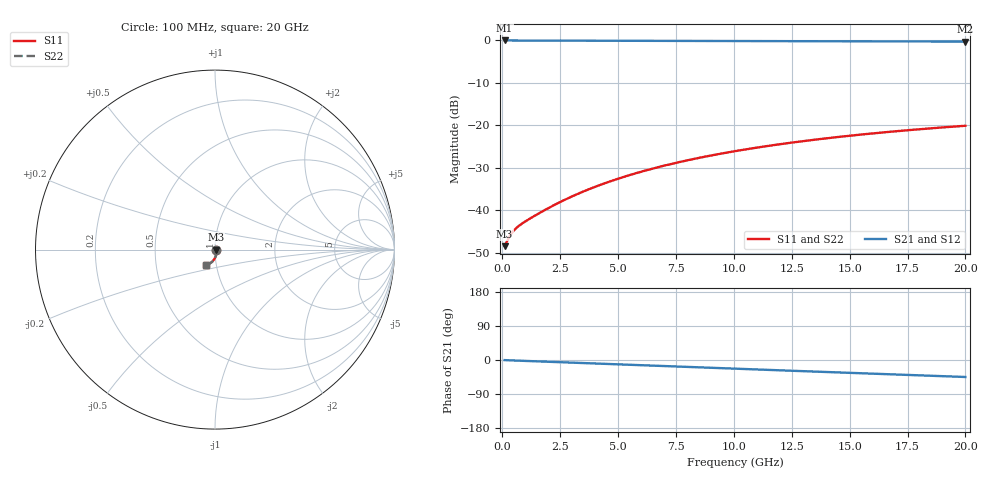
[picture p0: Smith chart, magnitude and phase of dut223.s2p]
! Touchstone file exported from HFSS 2026.1.0
!  File:  C:/ffzhzh/LocalFiles/Ansys_Project_Files/temp_train_TMRDL_223_1782984357_41620.aedt
!  Generated:  05:27:09 PM Jul  2, 2026
!  Design:  TMRDL
!  Project:  temp_train_TMRDL_223_1782984357_41620
! Variables:
!  h_bsmrdl = 2um
!  h_ox = 20um
!  h_rdl = 5um
!  h_sub = 80um
!  h_tmrdl = 3.54um
!  h_tsv = 80um
!  h_via = 3um
!  l_bsmrdl = 300um
!  l_sub = 1195.34um
!  l_tmrdl = 795.34um
!  m_sub = 200um
!  pitch = 26.18um
!  r_tsv = 6um
!  s_tmrdl = 10um
!  w_bsmrdl = 18um
!  w_sub = 500um
!  w_tmrdl = 23.29um
!  x_tsv_center1 = 806.985um
!  x_tsv_center2 = 1124.985um
!  x_tsv_center3 = 1943.615um
!  x_tsv_center4 = 2261.615um
!  x_tsv_center5 = 3080.245um
!  x_tsv_center6 = 3398.245um
# GHz S MA R 50.000000
! Terminal data exported
! Port[1] = TM_RDL1_1_T1
! Port[2] = TM_RDL1_1_T2
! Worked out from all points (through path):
!   200 points, 100 MHz to 20 GHz, reference 50 ohm
!   highest |S21| = -0.03 dB at 100 MHz (marker M1); lowest = -0.3 dB at 20 GHz (marker M2)
!   group delay of S21, straight-line fit = 6.2 ps
!   lowest |S11| = -48.5 dB at 100 MHz (marker M3), VSWR 1.01, Z = 50.4 + j0.0448 ohm
!   |S11| at or under -10 dB: start of sweep to end of sweep
!   |S22| runs from -48.5 to -20.1 dB; largest |S21 - S12| = 4.1e-15
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0.1  0.003775 6.8  0.9963 -0.3  0.9963 -0.3  0.003775 6.8
! Gamma 0 0 0 0
! Port Impedance 50 0 50 0
0.3  0.004858 7.0  0.9952 -0.8  0.9952 -0.8  0.004858 7.0
0.4  0.005365 3.2  0.9946 -1.0  0.9946 -1.0  0.005365 3.2
0.5  0.005796 -1.2  0.9942 -1.3  0.9942 -1.3  0.005797 -1.2
0.6  0.006168 -5.8  0.9938 -1.5  0.9938 -1.5  0.006169 -5.7
0.8  0.00681 -14.2  0.9933 -2.0  0.9933 -2.0  0.006812 -14.2
1.3  0.008298 -30.7  0.9926 -3.1  0.9926 -3.1  0.008302 -30.6
2.1  0.01099 -47.4  0.9918 -4.9  0.9918 -4.9  0.01099 -47.3
2.8  0.01368 -56.5  0.9911 -6.6  0.9911 -6.6  0.01369 -56.5
3.5  0.01661 -63.0  0.9903 -8.2  0.9903 -8.2  0.01663 -62.9
4.2  0.01973 -67.9  0.9894 -9.8  0.9894 -9.8  0.01975 -67.8
5  0.02349 -72.4  0.9882 -11.6  0.9882 -11.6  0.02352 -72.3
5.9  0.02791 -76.7  0.9869 -13.6  0.9869 -13.6  0.02794 -76.6
6.8  0.03247 -80.5  0.9855 -15.7  0.9855 -15.7  0.03252 -80.3
7.6  0.03662 -83.5  0.9842 -17.5  0.9842 -17.5  0.03668 -83.4
8.4  0.04083 -86.4  0.983 -19.3  0.983 -19.3  0.04089 -86.3
10.1  0.04985 -92.1  0.9804 -23.1  0.9804 -23.1  0.04993 -92.0
11.7  0.05832 -97.2  0.978 -26.6  0.978 -26.6  0.05842 -96.9
13.4  0.06717 -102.2  0.9756 -30.4  0.9756 -30.4  0.0673 -102.0
15  0.07529 -106.8  0.9733 -33.9  0.9733 -33.9  0.07543 -106.5
16.7  0.08361 -111.4  0.9709 -37.6  0.9709 -37.6  0.08378 -111.1
20  0.09869 -120.1  0.9664 -44.8  0.9664 -44.8  0.0989 -119.8
